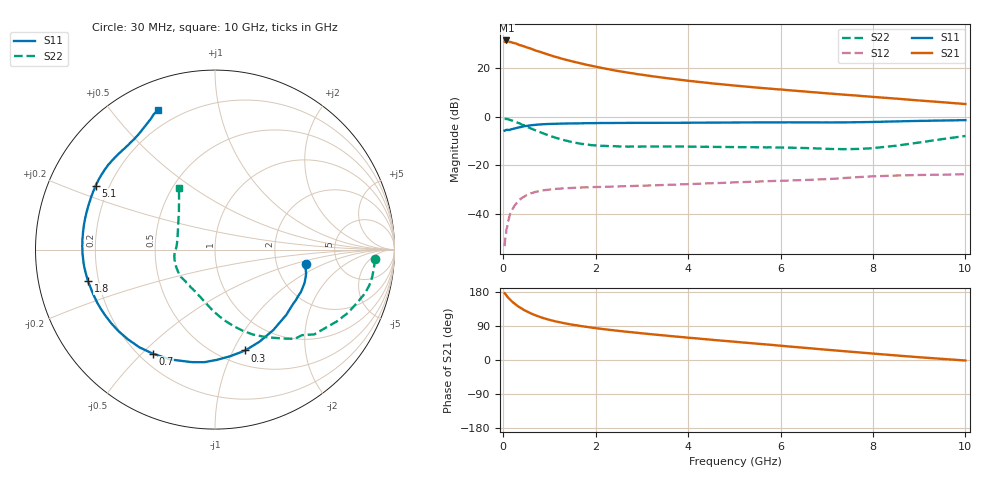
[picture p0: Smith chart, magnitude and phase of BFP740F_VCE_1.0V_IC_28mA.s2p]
! Infineon Technologies  Discrete & RF Semiconductors
! BFP740F
! VCE =  1.0 V,  IC =  28 mA
! Common Emitter S-Parameters:  Oct 2012
# GHz  S  MA  R  50
!  f  S11  S21  S12  S22
! GHz  MAG  ANG  MAG  ANG  MAG  ANG  MAG  ANG
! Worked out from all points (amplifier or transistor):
!   99 points, 30 MHz to 10 GHz, reference 50 ohm
!   highest |S21| = 31.2 dB at 70 MHz (marker M1)
!   |S21| within 3 dB of that: start of sweep to 537.9 MHz
!   unconditionally stable (mu >= 1): start of sweep to 33.48 MHz; 4.131 GHz to end of sweep
!   at 350 MHz: K = 0.22, MSG = 31.7 dB, |S12| = -34.2 dB
!   at 3.5 GHz: K = 0.90, MSG = 21.9 dB, |S12| = -28.1 dB
!   at 10 GHz: K = 1.37, MAG = 10.8 dB, |S12| = -23.7 dB
!   S11 on the Smith chart (normalised r, x): 30 MHz: 2.94, -0.64; 300 MHz: 0.65, -1.12; 700 MHz: 0.25, -0.54; 1.8 GHz: 0.16, -0.12; 5.1 GHz: 0.15, +0.25; 10 GHz: 0.12, +0.67
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0.03  0.5118 -9.0  34.41 176.3  0.0022 70.0  0.8913 -3.3
0.05  0.5249 -14.7  35.71 173.6  0.0036 71.0  0.8913 -6.2
0.07  0.5324 -20.5  36.19 170.3  0.0049 81.8  0.8897 -9.0
0.1  0.5308 -29.3  35.1 165.4  0.0069 73.6  0.8816 -13.3
0.12  0.5302 -34.9  34.16 162.8  0.0079 73.8  0.8709 -16.1
0.2  0.5536 -54.1  32.62 153.1  0.0126 66.9  0.8199 -25.5
0.3  0.5866 -73.3  30.71 143.5  0.0172 60.7  0.7533 -35.5
0.35  0.6 -81.8  29.12 139.3  0.0195 57.1  0.7273 -40.5
0.45  0.6303 -95.5  27.36 131.8  0.0227 51.4  0.6663 -48.3
0.6  0.6605 -112.0  24.55 123.0  0.0266 44.0  0.5676 -59.4
0.7  0.6754 -120.9  22.5 117.8  0.0285 40.2  0.5195 -65.8
0.9  0.6969 -134.3  19.57 109.4  0.031 34.6  0.4381 -76.4
1.1  0.7088 -144.5  17.03 102.8  0.0326 30.6  0.3761 -85.7
1.4  0.7195 -155.5  14.21 95.3  0.034 26.9  0.3136 -97.2
1.7  0.7256 -163.7  12.14 89.3  0.0351 25.0  0.2746 -107.8
1.8  0.7295 -166.1  11.51 87.5  0.0353 24.3  0.2678 -111.2
2.5  0.7387 -178.6  8.5 76.8  0.0368 22.9  0.2436 -128.9
3.4  0.7429 169.7  6.348 65.7  0.0393 23.4  0.2438 -141.3
5.1  0.7542 151.9  4.232 47.2  0.045 24.5  0.2358 -157.7
6.7  0.7569 136.2  3.152 30.3  0.0506 24.9  0.2232 -177.1
8.5  0.7934 119.0  2.324 12.0  0.0617 21.1  0.2517 144.4
10  0.8418 112.0  1.801 -1.3  0.0653 15.8  0.3992 120.2
